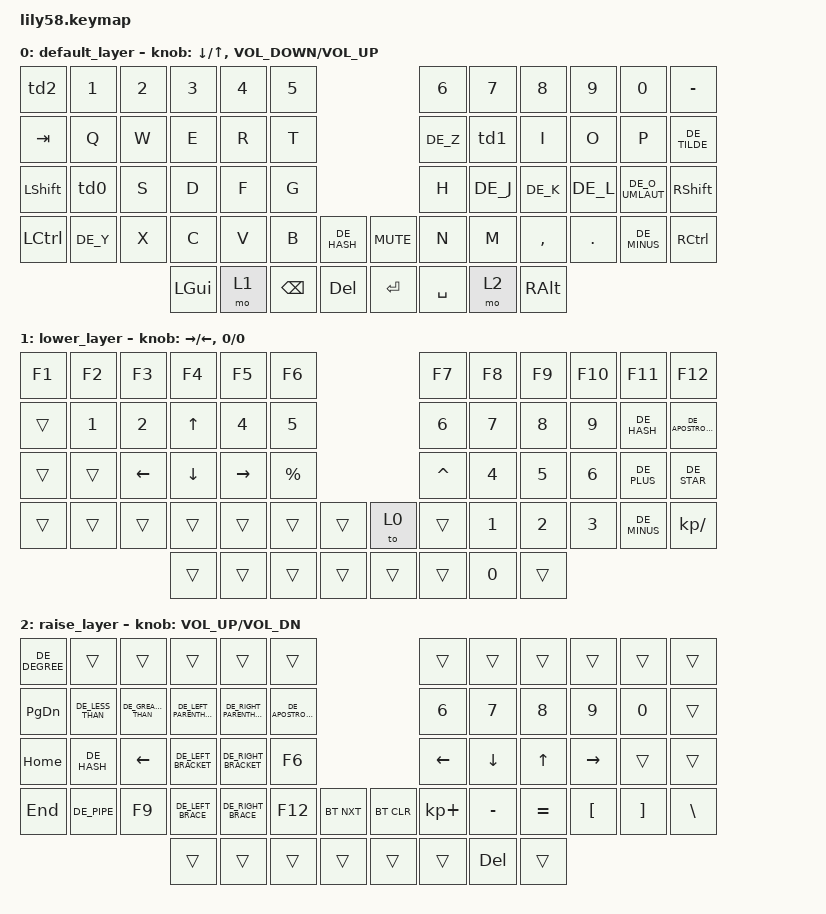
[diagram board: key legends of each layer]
/*
 * Copyright (c) 2020 The ZMK Contributors
 *
 * SPDX-License-Identifier: MIT
 */

#include "keys_de.h"
#include <behaviors/mouse_keys.dtsi>
#include <dt-bindings/zmk/mouse.h>
#include <behaviors.dtsi>
#include <dt-bindings/zmk/bt.h>
#include <dt-bindings/zmk/keys.h>

/ {
    behaviors {
        hm: homerow_mods {
            ////////////////////////////////////////////////////////////////////

            td0: td_A_Umlaut {
                compatible = "zmk,behavior-tap-dance";
                #binding-cells = <0>;
                tapping-term-ms = <167>;
                bindings = <&kp A>, <&kp DE_A_UMLAUT>;
            };

            td1: td_U_Umlaut {
                compatible = "zmk,behavior-tap-dance";
                #binding-cells = <0>;
                tapping-term-ms = <160>;
                bindings = <&kp U>, <&kp DE_U_UMLAUT>;
            };

            td2: td_ESC_Caret {
                compatible = "zmk,behavior-tap-dance";
                #binding-cells = <0>;
                tapping-term-ms = <180>;
                bindings = <&kp ESC>, <&kp DE_CARET>;
            };

            ////////////////////////////////////////////////////////////////////////////

            compatible = "zmk,behavior-hold-tap";
            label = "HOMEROW_MODS";
            #binding-cells = <2>;
            tapping-term-ms = <160>;
            quick-tap-ms = <0>;
            flavor = "balanced";
            bindings = <&kp>, <&kp>;
        };
    };

    conditional_layers { compatible = "zmk,conditional-layers"; };

    keymap {
        compatible = "zmk,keymap";

        default_layer {
            // ------------------------------------------------------------------------------------------------------------
            // |  ESC  |  1  |  2  |  3   |  4   |  5   |                   |  6   |  7    |  8    |  9   |   0   |   `   |
            // |  TAB  |  Q  |  W  |  E   |  R   |  T   |                   |  Y   |  U    |  I    |  O   |   P   |   -   |
            // | SHIFT |  A  |  S  |  D   |  F   |  G   |                   |  H   |  J    |  K    |  L   |   ;   |   '   |
            // |  CTRL |  Z  |  X  |  C   |  V   |  B   |   "["  |  |  "]"  |  N   |  M    |  ,    |  .   |   _   |  \ |  |
            //                     | GUI  | ALT  | LOWER|  SPACE |  | ENTER | RAISE| BSPC  | ALG_GR|

            bindings = <
&td2       &kp N1    &kp N2  &kp N3    &kp N4  &kp N5                                    &kp N6     &kp N7    &kp N8         &kp N9    &kp N0           &kp MINUS
&kp TAB    &kp Q     &kp W   &kp E     &kp R   &kp T                                     &kp DE_Z   &td1      &kp I          &kp O     &kp P            &kp DE_TILDE
&kp LSHFT  &td0      &kp S   &kp D     &kp F   &kp G                                     &kp H      &kp DE_J  &kp DE_K       &kp DE_L  &kp DE_O_UMLAUT  &kp RIGHT_SHIFT
&kp LCTRL  &kp DE_Y  &kp X   &kp C     &kp V   &kp B          &kp DE_HASH    &kp C_MUTE  &kp N      &kp M     &kp COMMA      &kp DOT   &kp DE_MINUS     &kp RIGHT_CONTROL
                             &kp LGUI  &mo 1   &kp BACKSPACE  &kp DEL        &kp RET     &kp SPACE  &mo 2     &kp RIGHT_ALT
            >;

            sensor-bindings =
                <&inc_dec_kp DOWN_ARROW UP_ARROW>,
                <&inc_dec_kp C_VOLUME_DOWN C_VOLUME_UP>;

            /*  sensor-bindings =
            *    <&inc_dec_kp PAGE_DOWN PAGE_UP>,
             *   <&inc_dec_kp C_VOLUME_DOWN C_VOLUME_UP>;
        */
        };

        lower_layer {
            // ------------------------------------------------------------------------------------------------------------
            // |  F1   |  F2 |  F3 |  F4  |  F5  |  F6  |                   |  F7  |  F8   |  F9   |  F10 |  F11  |  F12  |
            // |  TAB  |   1 |   2 |   3  |   4  |  5   |                   |   6  |   7   |  8    |    9 |    0  |    -  |
            // |   `   |  !  |  @  |  #   |  $   |  %   |                   |  ^   |  &    |  *    |  (   |   )   |   ~   |
            // |       |     |     |      |      |      |        |  |       |      |  _    |  +    |  {   |   }   |  "|"  |
            //                     |      |      |      |        |  |       |      |       |       |

            bindings = <
&kp F1  &kp F2  &kp F3          &kp F4          &kp F5     &kp F6                       &kp F7     &kp F8        &kp F9        &kp F10  &kp F11       &kp F12
&trans  &kp N1  &kp N2          &kp UP_ARROW    &kp N4     &kp N5                       &kp N6     &kp N7        &kp N8        &kp N9   &kp DE_HASH   &kp DE_APOSTROPHE
&trans  &trans  &kp LEFT_ARROW  &kp DOWN_ARROW  &kp RIGHT  &kp PRCNT                    &kp CARET  &kp NUMBER_4  &kp NUMBER_5  &kp N6   &kp DE_PLUS   &kp DE_STAR
&trans  &trans  &trans          &trans          &trans     &trans     &trans    &to 0   &trans     &kp N1        &kp N2        &kp N3   &kp DE_MINUS  &kp KP_SLASH
                                &trans          &trans     &trans     &trans    &trans  &trans     &kp N0        &trans
            >;

            sensor-bindings = <&inc_dec_kp RIGHT LEFT_ARROW>, <&inc_dec_kp 0 0>;
        };

        raise_layer {
            // ------------------------------------------------------------------------------------------------------------
            // | PUP   |     |     |      |      |      |                   |      |       |       |      |       |       |
            // | PDOWN |  1  |  2  |  3   |  4   |  5   |                   |  6   |   7   |   8   |  9   |   0   |       |
            // | HOME  |  F2 |  F3 |  F4  |  F5  |  F6  |                   |  <-  |   v   |   ^   |  ->  |       |       |
            // | END   |  F8 |  F9 |  F10 |  F11 |  F12 |        |  |       |  +   |   -   |   =   |  [   |   ]   |   \   |
            //                     |      |      |      |        |  |       |      |   DEL |       |

            bindings = <
&kp DE_DEGREE  &trans            &trans               &trans                   &trans                    &trans                                       &trans       &trans     &trans     &trans     &trans    &trans
&kp PG_DN      &kp DE_LESS_THAN  &kp DE_GREATER_THAN  &kp DE_LEFT_PARENTHESIS  &kp DE_RIGHT_PARENTHESIS  &kp DE_APOSTROPHE                            &kp N6       &kp N7     &kp N8     &kp N9     &kp N0    &trans
&kp HOME       &kp DE_HASH       &kp LEFT_ARROW       &kp DE_LEFT_BRACKET      &kp DE_RIGHT_BRACKET      &kp F6                                       &kp LEFT     &kp DOWN   &kp UP     &kp RIGHT  &trans    &trans
&kp END        &kp DE_PIPE       &kp F9               &kp DE_LEFT_BRACE        &kp DE_RIGHT_BRACE        &kp F12            &bt BT_NXT    &bt BT_CLR  &kp KP_PLUS  &kp MINUS  &kp EQUAL  &kp LBKT   &kp RBKT  &kp BSLH
                                                      &trans                   &trans                    &trans             &trans        &trans      &trans       &kp DEL    &trans
            >;

            sensor-bindings = <&inc_dec_kp C_VOL_UP C_VOL_DN>;
        };
    };
};
